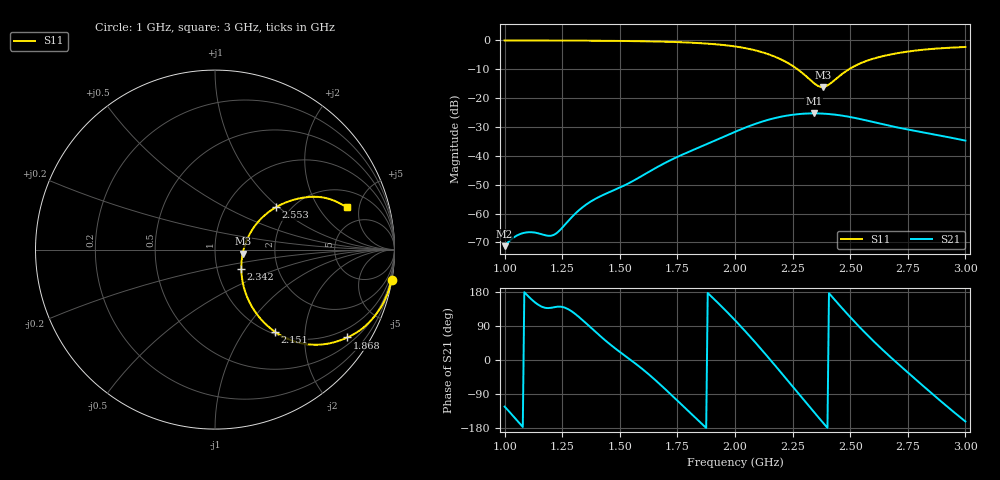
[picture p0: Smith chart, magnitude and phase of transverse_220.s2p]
! TOUCHSTONE file generated by CST MICROWAVE STUDIO
! Date and time: Tue Mar 11 13:57:50 2025
! Project name: transverse.cst
! Parameters = {Fracture=5; B=10; D=160; F=5; Feed=2.85625; L=100; M=10; R=0.384908; S=2; Theta=270; length=57.125; wave=114.25}
! Header version: 2024
! Port assignment regex: !\s*Touchstone port\s*([0-9]+)\s*=\s*(CST MWS port|CST DES external port|CST DES block port)\s*(.+)\s* \(\"(.*)\"\)(\s*mode\s*([0-9]+))?.*
! Touchstone port assignment:
! Touchstone port 1 = CST MWS port 1 ("")
! Touchstone port 2 = CST MWS port 2 ("")
# GHz S MA R 50
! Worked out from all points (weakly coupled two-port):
!   305 points, 1 GHz to 3 GHz, reference 50 ohm
!   highest |S21| = -25.28 dB at 2.342 GHz (marker M1); lowest = -71.3 dB at 1 GHz (marker M2)
!   lowest |S11| = -16.2 dB at 2.382 GHz (marker M3), VSWR 1.37, Z = 68.1 - j3.14 ohm
!   |S11| at or under -10 dB: 2.272 GHz to 2.494 GHz (222.8 MHz wide, 9.35 % of centre)
!   S12 and S22 are empty: the file has one direction only
!   S11 on the Smith chart (normalised r, x): 1 GHz: 0, -12; 1.868 GHz: 0.70, -3.18; 2.151 GHz: 1.04, -1.39; 2.342 GHz: 1.31, -0.30; 2.553 GHz: 1.69, +0.96; 3 GHz: 3.22, +3.71
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1  0.9978 -9.8  0.0002731 -123.0  0 0.0  0 0.0
1.03947  0.9973 -10.3  0.0003867 -149.6  0 0.0  0 0.0
1.08553  0.9965 -10.9  0.0004664 178.9  0 0.0  0 0.0
1.19079  0.9949 -12.5  0.0004131 137.1  0 0.0  0 0.0
1.21711  0.9944 -13.0  0.0004364 139.5  0 0.0  0 0.0
1.33553  0.9899 -15.2  0.001263 106.8  0 0.0  0 0.0
1.39474  0.9869 -16.4  0.001811 74.2  0 0.0  0 0.0
1.53289  0.9758 -19.9  0.003267 6.5  0 0.0  0 0.0
1.67105  0.9548 -24.3  0.006676 -62.3  0 0.0  0 0.0
1.86842  0.8856 -33.5  0.0154 -175.5  0 0.0  0 0.0
2  0.7866 -42.3  0.02609 105.0  0 0.0  0 0.0
2.15132  0.5643 -54.0  0.04293 1.8  0 0.0  0 0.0
2.25  0.3627 -56.9  0.05152 -69.7  0 0.0  0 0.0
2.33553  0.1924 -40.1  0.05444 -132.1  0 0.0  0 0.0
2.34211  0.1828 -36.7  0.05446 -136.8  0 0.0  0 0.0
2.38158  0.1558 -8.3  0.05395 -165.2  0 0.0  0 0.0
2.40789  0.1724 10.9  0.05304 176.2  0 0.0  0 0.0
2.46711  0.2665 31.4  0.04964 135.2  0 0.0  0 0.0
2.55263  0.4145 34.8  0.04265 79.4  0 0.0  0 0.0
2.67105  0.566 30.7  0.0332 9.9  0 0.0  0 0.0
2.83553  0.7016 23.5  0.0248 -78.4  0 0.0  0 0.0
3  0.7697 17.8  0.01841 -162.2  0 0.0  0 0.0
